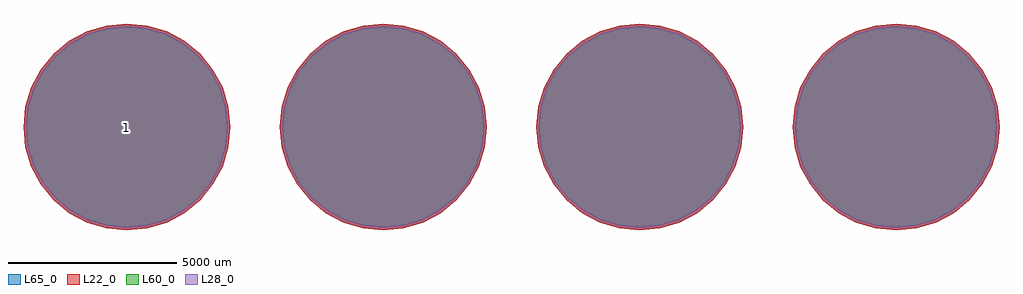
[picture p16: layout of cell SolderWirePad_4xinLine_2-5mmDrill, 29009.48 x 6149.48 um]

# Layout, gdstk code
import gdstk
lib = gdstk.Library(unit=1e-6, precision=1e-09)
def P(c, l, *ps):  # polygons
    for p in ps: c.add(gdstk.Polygon(p, *l))
L22_0 = (22, 0)
L28_0 = (28, 0)
L60_0 = (60, 0)
L65_0 = (65, 0)

solderwirepad_4xinline_2 = lib.new_cell('SolderWirePad_4xinLine_2-5mmDrill')
P(solderwirepad_4xinline_2, L22_0, [(14504.74,0),(14445.66,599.852),(14270.689,1176.652),(13986.553,1708.234),(13604.17,2174.17),(13138.234,2556.553),(12606.652,2840.689),(12029.852,3015.66),(11430,3074.74),(10830.148,3015.66),(10253.348,2840.689),(9721.766,2556.553),(9255.83,2174.17),(8873.447,1708.234),(8589.311,1176.652),(8414.34,599.852),(8355.26,0),(8414.34,-599.852),(8589.311,-1176.652),(8873.447,-1708.234),(9255.83,-2174.17),(9721.766,-2556.553),(10253.348,-2840.689),(10830.148,-3015.66),(11430,-3074.74),(12029.852,-3015.66),(12606.652,-2840.689),(13138.234,-2556.553),(13604.17,-2174.17),(13986.553,-1708.234),(14270.689,-1176.652),(14445.66,-599.852)],
  [(6884.74,0),(6825.66,599.852),(6650.689,1176.652),(6366.553,1708.234),(5984.17,2174.17),(5518.234,2556.553),(4986.652,2840.689),(4409.852,3015.66),(3810,3074.74),(3210.148,3015.66),(2633.348,2840.689),(2101.766,2556.553),(1635.83,2174.17),(1253.447,1708.234),(969.311,1176.652),(794.34,599.852),(735.26,0),(794.34,-599.852),(969.311,-1176.652),(1253.447,-1708.234),(1635.83,-2174.17),(2101.766,-2556.553),(2633.348,-2840.689),(3210.148,-3015.66),(3810,-3074.74),(4409.852,-3015.66),(4986.652,-2840.689),(5518.234,-2556.553),(5984.17,-2174.17),(6366.553,-1708.234),(6650.689,-1176.652),(6825.66,-599.852)],
  [(-735.26,0),(-794.34,599.852),(-969.311,1176.652),(-1253.447,1708.234),(-1635.83,2174.17),(-2101.766,2556.553),(-2633.348,2840.689),(-3210.148,3015.66),(-3810,3074.74),(-4409.852,3015.66),(-4986.652,2840.689),(-5518.234,2556.553),(-5984.17,2174.17),(-6366.553,1708.234),(-6650.689,1176.652),(-6825.66,599.852),(-6884.74,0),(-6825.66,-599.852),(-6650.689,-1176.652),(-6366.553,-1708.234),(-5984.17,-2174.17),(-5518.234,-2556.553),(-4986.652,-2840.689),(-4409.852,-3015.66),(-3810,-3074.74),(-3210.148,-3015.66),(-2633.348,-2840.689),(-2101.766,-2556.553),(-1635.83,-2174.17),(-1253.447,-1708.234),(-969.311,-1176.652),(-794.34,-599.852)],
  [(-8355.26,0),(-8414.34,599.852),(-8589.311,1176.652),(-8873.447,1708.234),(-9255.83,2174.17),(-9721.766,2556.553),(-10253.348,2840.689),(-10830.148,3015.66),(-11430,3074.74),(-12029.852,3015.66),(-12606.652,2840.689),(-13138.234,2556.553),(-13604.17,2174.17),(-13986.553,1708.234),(-14270.689,1176.652),(-14445.66,599.852),(-14504.74,0),(-14445.66,-599.852),(-14270.689,-1176.652),(-13986.553,-1708.234),(-13604.17,-2174.17),(-13138.234,-2556.553),(-12606.652,-2840.689),(-12029.852,-3015.66),(-11430,-3074.74),(-10830.148,-3015.66),(-10253.348,-2840.689),(-9721.766,-2556.553),(-9255.83,-2174.17),(-8873.447,-1708.234),(-8589.311,-1176.652),(-8414.34,-599.852)])
P(solderwirepad_4xinline_2, L28_0, [(14429.74,0),(14372.101,585.22),(14201.398,1147.951),(13924.193,1666.566),(13551.136,2121.136),(13096.566,2494.193),(12577.951,2771.398),(12015.22,2942.101),(11430,2999.74),(10844.78,2942.101),(10282.049,2771.398),(9763.434,2494.193),(9308.864,2121.136),(8935.807,1666.566),(8658.602,1147.951),(8487.899,585.22),(8430.26,0),(8487.899,-585.22),(8658.602,-1147.951),(8935.807,-1666.566),(9308.864,-2121.136),(9763.434,-2494.193),(10282.049,-2771.398),(10844.78,-2942.101),(11430,-2999.74),(12015.22,-2942.101),(12577.951,-2771.398),(13096.566,-2494.193),(13551.136,-2121.136),(13924.193,-1666.566),(14201.398,-1147.951),(14372.101,-585.22)],
  [(6809.74,0),(6752.101,585.22),(6581.398,1147.951),(6304.193,1666.566),(5931.136,2121.136),(5476.566,2494.193),(4957.951,2771.398),(4395.22,2942.101),(3810,2999.74),(3224.78,2942.101),(2662.049,2771.398),(2143.434,2494.193),(1688.864,2121.136),(1315.807,1666.566),(1038.602,1147.951),(867.899,585.22),(810.26,0),(867.899,-585.22),(1038.602,-1147.951),(1315.807,-1666.566),(1688.864,-2121.136),(2143.434,-2494.193),(2662.049,-2771.398),(3224.78,-2942.101),(3810,-2999.74),(4395.22,-2942.101),(4957.951,-2771.398),(5476.566,-2494.193),(5931.136,-2121.136),(6304.193,-1666.566),(6581.398,-1147.951),(6752.101,-585.22)],
  [(-810.26,0),(-867.899,585.22),(-1038.602,1147.951),(-1315.807,1666.566),(-1688.864,2121.136),(-2143.434,2494.193),(-2662.049,2771.398),(-3224.78,2942.101),(-3810,2999.74),(-4395.22,2942.101),(-4957.951,2771.398),(-5476.566,2494.193),(-5931.136,2121.136),(-6304.193,1666.566),(-6581.398,1147.951),(-6752.101,585.22),(-6809.74,0),(-6752.101,-585.22),(-6581.398,-1147.951),(-6304.193,-1666.566),(-5931.136,-2121.136),(-5476.566,-2494.193),(-4957.951,-2771.398),(-4395.22,-2942.101),(-3810,-2999.74),(-3224.78,-2942.101),(-2662.049,-2771.398),(-2143.434,-2494.193),(-1688.864,-2121.136),(-1315.807,-1666.566),(-1038.602,-1147.951),(-867.899,-585.22)],
  [(-8430.26,0),(-8487.899,585.22),(-8658.602,1147.951),(-8935.807,1666.566),(-9308.864,2121.136),(-9763.434,2494.193),(-10282.049,2771.398),(-10844.78,2942.101),(-11430,2999.74),(-12015.22,2942.101),(-12577.951,2771.398),(-13096.566,2494.193),(-13551.136,2121.136),(-13924.193,1666.566),(-14201.398,1147.951),(-14372.101,585.22),(-14429.74,0),(-14372.101,-585.22),(-14201.398,-1147.951),(-13924.193,-1666.566),(-13551.136,-2121.136),(-13096.566,-2494.193),(-12577.951,-2771.398),(-12015.22,-2942.101),(-11430,-2999.74),(-10844.78,-2942.101),(-10282.049,-2771.398),(-9763.434,-2494.193),(-9308.864,-2121.136),(-8935.807,-1666.566),(-8658.602,-1147.951),(-8487.899,-585.22)])
P(solderwirepad_4xinline_2, L60_0, [(14429.74,0),(14372.101,585.22),(14201.398,1147.951),(13924.193,1666.566),(13551.136,2121.136),(13096.566,2494.193),(12577.951,2771.398),(12015.22,2942.101),(11430,2999.74),(10844.78,2942.101),(10282.049,2771.398),(9763.434,2494.193),(9308.864,2121.136),(8935.807,1666.566),(8658.602,1147.951),(8487.899,585.22),(8430.26,0),(8487.899,-585.22),(8658.602,-1147.951),(8935.807,-1666.566),(9308.864,-2121.136),(9763.434,-2494.193),(10282.049,-2771.398),(10844.78,-2942.101),(11430,-2999.74),(12015.22,-2942.101),(12577.951,-2771.398),(13096.566,-2494.193),(13551.136,-2121.136),(13924.193,-1666.566),(14201.398,-1147.951),(14372.101,-585.22)],
  [(6809.74,0),(6752.101,585.22),(6581.398,1147.951),(6304.193,1666.566),(5931.136,2121.136),(5476.566,2494.193),(4957.951,2771.398),(4395.22,2942.101),(3810,2999.74),(3224.78,2942.101),(2662.049,2771.398),(2143.434,2494.193),(1688.864,2121.136),(1315.807,1666.566),(1038.602,1147.951),(867.899,585.22),(810.26,0),(867.899,-585.22),(1038.602,-1147.951),(1315.807,-1666.566),(1688.864,-2121.136),(2143.434,-2494.193),(2662.049,-2771.398),(3224.78,-2942.101),(3810,-2999.74),(4395.22,-2942.101),(4957.951,-2771.398),(5476.566,-2494.193),(5931.136,-2121.136),(6304.193,-1666.566),(6581.398,-1147.951),(6752.101,-585.22)],
  [(-810.26,0),(-867.899,585.22),(-1038.602,1147.951),(-1315.807,1666.566),(-1688.864,2121.136),(-2143.434,2494.193),(-2662.049,2771.398),(-3224.78,2942.101),(-3810,2999.74),(-4395.22,2942.101),(-4957.951,2771.398),(-5476.566,2494.193),(-5931.136,2121.136),(-6304.193,1666.566),(-6581.398,1147.951),(-6752.101,585.22),(-6809.74,0),(-6752.101,-585.22),(-6581.398,-1147.951),(-6304.193,-1666.566),(-5931.136,-2121.136),(-5476.566,-2494.193),(-4957.951,-2771.398),(-4395.22,-2942.101),(-3810,-2999.74),(-3224.78,-2942.101),(-2662.049,-2771.398),(-2143.434,-2494.193),(-1688.864,-2121.136),(-1315.807,-1666.566),(-1038.602,-1147.951),(-867.899,-585.22)],
  [(-8430.26,0),(-8487.899,585.22),(-8658.602,1147.951),(-8935.807,1666.566),(-9308.864,2121.136),(-9763.434,2494.193),(-10282.049,2771.398),(-10844.78,2942.101),(-11430,2999.74),(-12015.22,2942.101),(-12577.951,2771.398),(-13096.566,2494.193),(-13551.136,2121.136),(-13924.193,1666.566),(-14201.398,1147.951),(-14372.101,585.22),(-14429.74,0),(-14372.101,-585.22),(-14201.398,-1147.951),(-13924.193,-1666.566),(-13551.136,-2121.136),(-13096.566,-2494.193),(-12577.951,-2771.398),(-12015.22,-2942.101),(-11430,-2999.74),(-10844.78,-2942.101),(-10282.049,-2771.398),(-9763.434,-2494.193),(-9308.864,-2121.136),(-8935.807,-1666.566),(-8658.602,-1147.951),(-8487.899,-585.22)])
P(solderwirepad_4xinline_2, L65_0, [(14504.74,0),(14445.66,599.852),(14270.689,1176.652),(13986.553,1708.234),(13604.17,2174.17),(13138.234,2556.553),(12606.652,2840.689),(12029.852,3015.66),(11430,3074.74),(10830.148,3015.66),(10253.348,2840.689),(9721.766,2556.553),(9255.83,2174.17),(8873.447,1708.234),(8589.311,1176.652),(8414.34,599.852),(8355.26,0),(8414.34,-599.852),(8589.311,-1176.652),(8873.447,-1708.234),(9255.83,-2174.17),(9721.766,-2556.553),(10253.348,-2840.689),(10830.148,-3015.66),(11430,-3074.74),(12029.852,-3015.66),(12606.652,-2840.689),(13138.234,-2556.553),(13604.17,-2174.17),(13986.553,-1708.234),(14270.689,-1176.652),(14445.66,-599.852)],
  [(6884.74,0),(6825.66,599.852),(6650.689,1176.652),(6366.553,1708.234),(5984.17,2174.17),(5518.234,2556.553),(4986.652,2840.689),(4409.852,3015.66),(3810,3074.74),(3210.148,3015.66),(2633.348,2840.689),(2101.766,2556.553),(1635.83,2174.17),(1253.447,1708.234),(969.311,1176.652),(794.34,599.852),(735.26,0),(794.34,-599.852),(969.311,-1176.652),(1253.447,-1708.234),(1635.83,-2174.17),(2101.766,-2556.553),(2633.348,-2840.689),(3210.148,-3015.66),(3810,-3074.74),(4409.852,-3015.66),(4986.652,-2840.689),(5518.234,-2556.553),(5984.17,-2174.17),(6366.553,-1708.234),(6650.689,-1176.652),(6825.66,-599.852)],
  [(-735.26,0),(-794.34,599.852),(-969.311,1176.652),(-1253.447,1708.234),(-1635.83,2174.17),(-2101.766,2556.553),(-2633.348,2840.689),(-3210.148,3015.66),(-3810,3074.74),(-4409.852,3015.66),(-4986.652,2840.689),(-5518.234,2556.553),(-5984.17,2174.17),(-6366.553,1708.234),(-6650.689,1176.652),(-6825.66,599.852),(-6884.74,0),(-6825.66,-599.852),(-6650.689,-1176.652),(-6366.553,-1708.234),(-5984.17,-2174.17),(-5518.234,-2556.553),(-4986.652,-2840.689),(-4409.852,-3015.66),(-3810,-3074.74),(-3210.148,-3015.66),(-2633.348,-2840.689),(-2101.766,-2556.553),(-1635.83,-2174.17),(-1253.447,-1708.234),(-969.311,-1176.652),(-794.34,-599.852)],
  [(-8355.26,0),(-8414.34,599.852),(-8589.311,1176.652),(-8873.447,1708.234),(-9255.83,2174.17),(-9721.766,2556.553),(-10253.348,2840.689),(-10830.148,3015.66),(-11430,3074.74),(-12029.852,3015.66),(-12606.652,2840.689),(-13138.234,2556.553),(-13604.17,2174.17),(-13986.553,1708.234),(-14270.689,1176.652),(-14445.66,599.852),(-14504.74,0),(-14445.66,-599.852),(-14270.689,-1176.652),(-13986.553,-1708.234),(-13604.17,-2174.17),(-13138.234,-2556.553),(-12606.652,-2840.689),(-12029.852,-3015.66),(-11430,-3074.74),(-10830.148,-3015.66),(-10253.348,-2840.689),(-9721.766,-2556.553),(-9255.83,-2174.17),(-8873.447,-1708.234),(-8589.311,-1176.652),(-8414.34,-599.852)])
solderwirepad_4xinline_2.add(gdstk.Label('1', (-11430,0), layer=28, texttype=0))
solderwirepad_4xinline_2.add(gdstk.Label('type', (2540,-6350), layer=9, texttype=0))
solderwirepad_4xinline_2.add(gdstk.Label('devicename', (0,5080), layer=9, texttype=0))

lib.write_gds('SolderWirePad_4xinLine_2-5mmDrill.gds')
